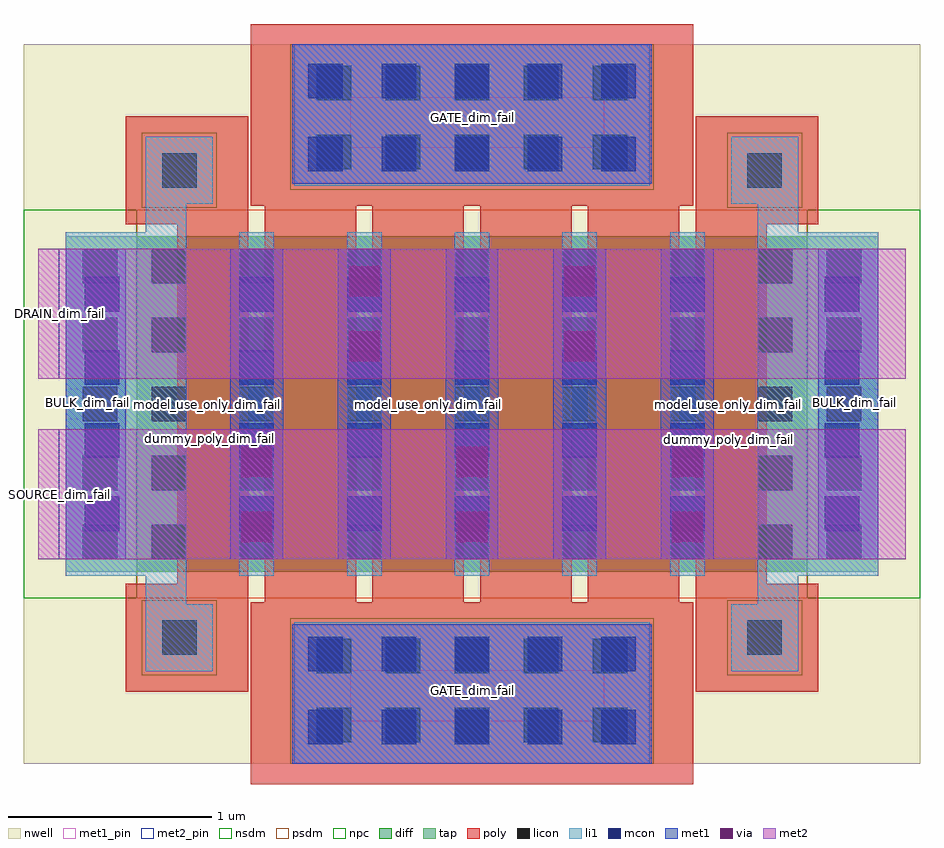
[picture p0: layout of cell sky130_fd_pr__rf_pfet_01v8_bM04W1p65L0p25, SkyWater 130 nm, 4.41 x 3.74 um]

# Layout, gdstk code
import gdstk
lib = gdstk.Library(unit=1e-6, precision=1e-09)
def R(c, l, rs):  # rectangles x0, y0, x1, y1
    for r in rs: c.add(gdstk.rectangle(r[:2], r[2:], *l))
def A(c, l, x, y, w, h, nx, ny, dx, dy):  # array of equal rectangles
    R(c, l, [(x+i*dx, y+j*dy, x+i*dx+w, y+j*dy+h) for i in range(nx) for j in range(ny)])
def P(c, l, *ps):  # polygons
    for p in ps: c.add(gdstk.Polygon(p, *l))
nwell = (64, 20)
diff = (65, 20)
tap = (65, 44)
poly = (66, 20)
licon = (66, 44)
li1 = (67, 20)
mcon = (67, 44)
met1_pin = (68, 16)
met1 = (68, 20)
via = (68, 44)
met2_pin = (69, 16)
met2 = (69, 20)
nsdm = (93, 44)
psdm = (94, 20)
npc = (95, 20)

sky130_fd_pr__rf_pfet_01 = lib.new_cell('sky130_fd_pr__rf_pfet_01v8_bM04W1p65L0p25')
R(sky130_fd_pr__rf_pfet_01, nwell, [(0,0,4.41,3.54)])
R(sky130_fd_pr__rf_pfet_01, diff, [(0.555,0.945,3.855,2.595)])
R(sky130_fd_pr__rf_pfet_01, tap, [(0.205,0.945,0.555,2.595), (3.855,0.945,4.205,2.595)])
P(sky130_fd_pr__rf_pfet_01, poly, [(0.5,0.355),(0.5,0.885),(0.755,0.885),(0.755,2.655),(0.5,2.655),(0.5,3.185),(1.105,3.185),(1.105,0.355)],
  [(3.305,0.355),(3.305,3.185),(3.91,3.185),(3.91,2.655),(3.655,2.655),(3.655,0.885),(3.91,0.885),(3.91,0.355)],
  [(1.115,-0.1),(1.115,0.795),(1.185,0.795),(1.185,2.745),(1.635,2.745),(1.635,0.795),(1.715,0.795),(1.715,2.745),(2.165,2.745),(2.165,0.795),(2.245,0.795),(2.245,2.745),(2.695,2.745),(2.695,0.795),(2.775,0.795),(2.775,2.745),(1.115,2.745),(1.115,3.64),(3.295,3.64),(3.295,2.745),(3.225,2.745),(3.225,0.795),(3.295,0.795),(3.295,-0.1)])
A(sky130_fd_pr__rf_pfet_01, licon, 1.44, 0.105, 0.17, 0.17, 5, 2, 0.34, 0.34)
A(sky130_fd_pr__rf_pfet_01, licon, 0.29, 1.005, 0.17, 0.17, 1, 5, 0, 0.34)
A(sky130_fd_pr__rf_pfet_01, licon, 0.63, 1.005, 0.17, 0.17, 1, 5, 0, 0.34)
A(sky130_fd_pr__rf_pfet_01, licon, 1.06, 1.005, 0.17, 0.17, 3, 1, 0.53, 0)
A(sky130_fd_pr__rf_pfet_01, licon, 2.12, 1.005, 0.17, 0.17, 3, 1, 0.53, 0)
A(sky130_fd_pr__rf_pfet_01, licon, 3.61, 1.005, 0.17, 0.17, 1, 5, 0, 0.34)
A(sky130_fd_pr__rf_pfet_01, licon, 3.95, 1.005, 0.17, 0.17, 1, 5, 0, 0.34)
A(sky130_fd_pr__rf_pfet_01, licon, 1.06, 1.345, 0.17, 0.17, 5, 4, 0.53, 0.34)
A(sky130_fd_pr__rf_pfet_01, licon, 1.44, 2.925, 0.17, 0.17, 5, 2, 0.34, 0.34)
R(sky130_fd_pr__rf_pfet_01, licon, [(0.68,0.535,0.85,0.705), (3.56,0.535,3.73,0.705), (1.06,1.005,1.23,1.175), (3.18,1.005,3.35,1.175), (0.68,2.835,0.85,3.005), (3.56,2.835,3.73,3.005)])
A(sky130_fd_pr__rf_pfet_01, li1, 1.06, 0.925, 0.17, 1.69, 5, 1, 0.53, 0)
R(sky130_fd_pr__rf_pfet_01, li1, [(1.33,0,3.08,0.695), (0.6,0.455,0.93,0.785), (3.48,0.455,3.81,0.785), (0.6,0.785,0.8,0.925), (3.61,0.785,3.81,0.925), (0.205,0.925,0.8,2.615), (3.61,0.925,4.205,2.615), (0.6,2.615,0.8,2.755), (3.61,2.615,3.81,2.755), (0.6,2.755,0.93,3.085), (3.48,2.755,3.81,3.085), (1.33,2.845,3.08,3.54)])
A(sky130_fd_pr__rf_pfet_01, mcon, 1.4, 0.095, 0.17, 0.17, 5, 2, 0.36, 0.36)
A(sky130_fd_pr__rf_pfet_01, mcon, 0.3, 1.145, 0.17, 0.17, 1, 4, 0, 0.36)
A(sky130_fd_pr__rf_pfet_01, mcon, 1.06, 1.145, 0.17, 0.17, 5, 4, 0.53, 0.36)
A(sky130_fd_pr__rf_pfet_01, mcon, 3.94, 1.145, 0.17, 0.17, 1, 4, 0, 0.36)
A(sky130_fd_pr__rf_pfet_01, mcon, 1.4, 2.915, 0.17, 0.17, 5, 2, 0.36, 0.36)
R(sky130_fd_pr__rf_pfet_01, met1_pin, [(1.605,0.21,2.855,0.46), (0.205,1.695,0.435,1.845), (3.975,1.695,4.205,1.845), (1.605,3.03,2.855,3.28)])
A(sky130_fd_pr__rf_pfet_01, met1, 1.015, 1.005, 0.26, 1.53, 5, 1, 0.53, 0)
R(sky130_fd_pr__rf_pfet_01, met1, [(1.32,0,3.09,0.685), (0.205,1.005,0.5,2.535), (3.91,1.005,4.205,2.535), (1.32,2.855,3.09,3.54)])
A(sky130_fd_pr__rf_pfet_01, via, 1.07, 1.09, 0.15, 0.15, 3, 2, 1.06, 0.32)
R(sky130_fd_pr__rf_pfet_01, via, [(1.6,1.98,1.75,2.13), (2.66,1.98,2.81,2.13), (1.6,2.3,1.75,2.45), (2.66,2.3,2.81,2.45)])
R(sky130_fd_pr__rf_pfet_01, met2_pin, [(0.07,1.005,0.175,1.645), (0.07,1.895,0.175,2.535)])
R(sky130_fd_pr__rf_pfet_01, met2, [(0.07,1.005,4.34,1.645), (0.07,1.895,4.34,2.535)])
R(sky130_fd_pr__rf_pfet_01, nsdm, [(0,0.815,0.555,2.725), (3.855,0.815,4.41,2.725)])
R(sky130_fd_pr__rf_pfet_01, psdm, [(0.555,0.815,3.855,2.725)])
R(sky130_fd_pr__rf_pfet_01, npc, [(1.31,0,3.1,0.715), (0.58,0.435,0.95,0.805), (3.46,0.435,3.83,0.805), (0.58,2.735,0.95,3.105), (3.46,2.735,3.83,3.105), (1.31,2.825,3.1,3.54)])
sky130_fd_pr__rf_pfet_01.add(gdstk.Label('dummy_poly_dim_fail', (3.465,1.595), layer=83, texttype=44))
sky130_fd_pr__rf_pfet_01.add(gdstk.Label('dummy_poly_dim_fail', (0.915,1.6), layer=83, texttype=44))
sky130_fd_pr__rf_pfet_01.add(gdstk.Label('GATE_dim_fail', (2.205,3.18), layer=68, texttype=5))
sky130_fd_pr__rf_pfet_01.add(gdstk.Label('GATE_dim_fail', (2.205,0.36), layer=68, texttype=5))
sky130_fd_pr__rf_pfet_01.add(gdstk.Label('BULK_dim_fail', (0.315,1.775), layer=68, texttype=16))
sky130_fd_pr__rf_pfet_01.add(gdstk.Label('BULK_dim_fail', (4.085,1.775), layer=68, texttype=16))
sky130_fd_pr__rf_pfet_01.add(gdstk.Label('model_use_only_dim_fail', (0.905,1.77), layer=66, texttype=83))
sky130_fd_pr__rf_pfet_01.add(gdstk.Label('model_use_only_dim_fail', (3.465,1.77), layer=66, texttype=83))
sky130_fd_pr__rf_pfet_01.add(gdstk.Label('model_use_only_dim_fail', (1.46,1.77), layer=66, texttype=83))
sky130_fd_pr__rf_pfet_01.add(gdstk.Label('model_use_only_dim_fail', (1.99,1.77), layer=66, texttype=83))
sky130_fd_pr__rf_pfet_01.add(gdstk.Label('model_use_only_dim_fail', (2.95,1.77), layer=66, texttype=83))
sky130_fd_pr__rf_pfet_01.add(gdstk.Label('model_use_only_dim_fail', (2.42,1.77), layer=66, texttype=83))
sky130_fd_pr__rf_pfet_01.add(gdstk.Label('SOURCE_dim_fail', (0.175,1.325), layer=69, texttype=5))
sky130_fd_pr__rf_pfet_01.add(gdstk.Label('DRAIN_dim_fail', (0.175,2.215), layer=69, texttype=5))

lib.write_gds('sky130_fd_pr__rf_pfet_01v8_bM04W1p65L0p25.gds')
